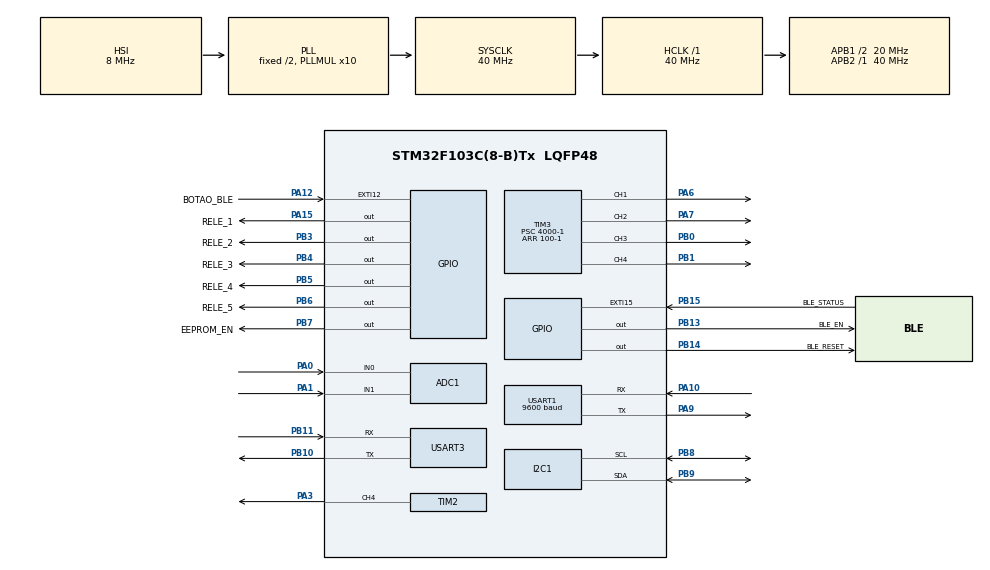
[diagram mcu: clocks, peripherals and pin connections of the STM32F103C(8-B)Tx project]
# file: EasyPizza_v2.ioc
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ADC1.Channel-0\#ChannelRegularConversion=ADC_CHANNEL_0
ADC1.Channel-1\#ChannelRegularConversion=ADC_CHANNEL_1
ADC1.Channel-2\#ChannelRegularConversion=ADC_CHANNEL_TEMPSENSOR
ADC1.ContinuousConvMode=ENABLE
ADC1.NbrOfConversion=3
ADC1.NbrOfConversionFlag=1
ADC1.Rank-0\#ChannelRegularConversion=1
ADC1.Rank-1\#ChannelRegularConversion=2
ADC1.Rank-2\#ChannelRegularConversion=3
ADC1.SamplingTime-0\#ChannelRegularConversion=ADC_SAMPLETIME_71CYCLES_5
ADC1.SamplingTime-1\#ChannelRegularConversion=ADC_SAMPLETIME_71CYCLES_5
ADC1.SamplingTime-2\#ChannelRegularConversion=ADC_SAMPLETIME_71CYCLES_5
ADC1.master=1
Dma.ADC1.0.Direction=DMA_PERIPH_TO_MEMORY
Dma.ADC1.0.Instance=DMA1_Channel1
Dma.ADC1.0.MemDataAlignment=DMA_MDATAALIGN_WORD
Dma.ADC1.0.MemInc=DMA_MINC_ENABLE
Dma.ADC1.0.Mode=DMA_CIRCULAR
Dma.ADC1.0.PeriphDataAlignment=DMA_PDATAALIGN_WORD
Dma.ADC1.0.PeriphInc=DMA_PINC_DISABLE
Dma.ADC1.0.Priority=DMA_PRIORITY_LOW
Dma.Request0=ADC1
Dma.Request1=USART1_RX
Dma.Request2=USART3_RX
Dma.USART1_RX.1.Direction=DMA_PERIPH_TO_MEMORY
Dma.USART1_RX.1.Instance=DMA1_Channel5
Dma.USART1_RX.1.MemDataAlignment=DMA_MDATAALIGN_BYTE
Dma.USART1_RX.1.MemInc=DMA_MINC_ENABLE
Dma.USART1_RX.1.Mode=DMA_NORMAL
Dma.USART1_RX.1.PeriphDataAlignment=DMA_PDATAALIGN_BYTE
Dma.USART1_RX.1.PeriphInc=DMA_PINC_DISABLE
Dma.USART1_RX.1.Priority=DMA_PRIORITY_HIGH
Dma.USART3_RX.2.Direction=DMA_PERIPH_TO_MEMORY
Dma.USART3_RX.2.Instance=DMA1_Channel3
Dma.USART3_RX.2.MemDataAlignment=DMA_MDATAALIGN_BYTE
Dma.USART3_RX.2.MemInc=DMA_MINC_ENABLE
Dma.USART3_RX.2.Mode=DMA_CIRCULAR
Dma.USART3_RX.2.PeriphDataAlignment=DMA_PDATAALIGN_BYTE
Dma.USART3_RX.2.PeriphInc=DMA_PINC_DISABLE
Dma.USART3_RX.2.Priority=DMA_PRIORITY_LOW
FREERTOS.BinarySemaphores01=BinSemUartTx,Dynamic,NULL
FREERTOS.HEAP_NUMBER=4
FREERTOS.INCLUDE_vTaskDelayUntil=1
FREERTOS.Queues01=FilaEeprom,5,uint8_t,0,Dynamic,NULL,NULL
FREERTOS.Tasks01=TaskBluetooth,2,256,StartBluetooth,As weak,NULL,Static,TaskBluetoothBuffer,TaskBluetoothControlBlock;TaskTemperatura,1,128,StartTemperatura,As weak,NULL,Dynamic,NULL,NULL;TaskBuzzer,-3,128,StartBuzzer,As weak,NULL,Static,TaskBuzzerBuffer,TaskBuzzerControlBlock;TaskTimer,0,128,StartTimer,As weak,NULL,Static,TaskTimerBuffer,TaskTimerControlBlock;TaskEeprom,0,128,StartEeprom,As weak,NULL,Dynamic,NULL,NULL
FREERTOS.Timers01=timer100ms,CBTimer100ms,osTimerPeriodic,Default,NULL,Dynamic,NULL;timer1000ms,CBTimer1000ms,osTimerPeriodic,Default,NULL,Dynamic,NULL
FREERTOS.configTOTAL_HEAP_SIZE=4096
FREERTOS.configUSE_NEWLIB_REENTRANT=1
FREERTOS.configUSE_TIMERS=1
Mcu.Family=STM32F1
Mcu.Name=STM32F103C(8-B)Tx
Mcu.Package=LQFP48
NVIC.DMA1_Channel1_IRQn=true\:5\:0\:false\:false\:true\:true\:false\:true\:true
NVIC.DMA1_Channel3_IRQn=true\:5\:0\:false\:false\:true\:true\:false\:true\:true
NVIC.DMA1_Channel5_IRQn=true\:5\:0\:false\:false\:true\:true\:false\:true\:true
NVIC.PriorityGroup=NVIC_PRIORITYGROUP_4
NVIC.TIM1_UP_IRQn=true\:15\:0\:false\:false\:true\:false\:false\:true\:true
NVIC.TIM3_IRQn=true\:5\:0\:false\:false\:true\:true\:true\:true\:true
NVIC.TimeBase=TIM1_UP_IRQn
NVIC.TimeBaseIP=TIM1
NVIC.USART1_IRQn=true\:6\:0\:true\:false\:true\:true\:true\:true\:true
PA0-WKUP.Signal=ADCx_IN0
PA1.Signal=ADCx_IN1
PA10.Mode=Asynchronous
PA10.Signal=USART1_RX
PA12.GPIO_Label=BOTAO_BLE
PA12.Signal=GPXTI12
PA13.Mode=Serial_Wire
PA13.Signal=SYS_JTMS-SWDIO
PA14.Mode=Serial_Wire
PA14.Signal=SYS_JTCK-SWCLK
PA15.GPIO_Label=RELE_1
PA15.Signal=GPIO_Output
PA3.Signal=S_TIM2_CH4
PA6.Signal=S_TIM3_CH1
PA7.Signal=S_TIM3_CH2
PA9.Mode=Asynchronous
PA9.Signal=USART1_TX
PB0.Signal=S_TIM3_CH3
PB1.Signal=S_TIM3_CH4
PB10.Mode=Asynchronous
PB10.Signal=USART3_TX
PB11.Mode=Asynchronous
PB11.Signal=USART3_RX
PB13.GPIO_Label=BLE_EN
PB13.PinState=GPIO_PIN_SET
PB13.Signal=GPIO_Output
PB14.GPIO_Label=BLE_RESET
PB14.PinState=GPIO_PIN_SET
PB14.Signal=GPIO_Output
PB15.GPIO_Label=BLE_STATUS
PB15.Signal=GPXTI15
PB3.GPIO_Label=RELE_2
PB3.Signal=GPIO_Output
PB4.GPIO_Label=RELE_3
PB4.Signal=GPIO_Output
PB5.GPIO_Label=RELE_4
PB5.Signal=GPIO_Output
PB6.GPIO_Label=RELE_5
PB6.Signal=GPIO_Output
PB7.GPIO_Label=EEPROM_EN
PB7.GPIO_PuPd=GPIO_PULLDOWN
PB7.Signal=GPIO_Output
PB8.Mode=I2C
PB8.Signal=I2C1_SCL
PB9.Mode=I2C
PB9.Signal=I2C1_SDA
ProjectManager.HeapSize=0x200
ProjectManager.StackSize=0x400
ProjectManager.TargetToolchain=STM32CubeIDE
RCC.ADCPresc=RCC_ADCPCLK2_DIV8
RCC.AHBFreq_Value=40000000
RCC.APB1CLKDivider=RCC_HCLK_DIV2
RCC.APB1Freq_Value=20000000
RCC.APB1TimFreq_Value=40000000
RCC.APB2Freq_Value=40000000
RCC.APB2TimFreq_Value=40000000
RCC.HCLKFreq_Value=40000000
RCC.PLLMUL=RCC_PLL_MUL10
RCC.SYSCLKFreq_VALUE=40000000
RCC.SYSCLKSource=RCC_SYSCLKSOURCE_PLLCLK
RCC.USBFreq_Value=40000000
SH.ADCx_IN0.0=ADC1_IN0,IN0
SH.ADCx_IN1.0=ADC1_IN1,IN1
SH.S_TIM2_CH4.0=TIM2_CH4,PWM Generation4 CH4
SH.S_TIM3_CH1.0=TIM3_CH1,PWM Generation1 CH1
SH.S_TIM3_CH2.0=TIM3_CH2,PWM Generation2 CH2
SH.S_TIM3_CH3.0=TIM3_CH3,PWM Generation3 CH3
SH.S_TIM3_CH4.0=TIM3_CH4,PWM Generation4 CH4
TIM2.Channel-PWM\ Generation4\ CH4=TIM_CHANNEL_4
TIM2.Period=100-1
TIM2.Prescaler=165-1
TIM2.Pulse-PWM\ Generation4\ CH4=50
TIM3.Channel-PWM\ Generation1\ CH1=TIM_CHANNEL_1
TIM3.Channel-PWM\ Generation2\ CH2=TIM_CHANNEL_2
TIM3.Channel-PWM\ Generation3\ CH3=TIM_CHANNEL_3
TIM3.Channel-PWM\ Generation4\ CH4=TIM_CHANNEL_4
TIM3.OCFastMode_PWM-PWM\ Generation1\ CH1=TIM_OCFAST_ENABLE
TIM3.OCFastMode_PWM-PWM\ Generation2\ CH2=TIM_OCFAST_ENABLE
TIM3.OCFastMode_PWM-PWM\ Generation3\ CH3=TIM_OCFAST_ENABLE
TIM3.OCFastMode_PWM-PWM\ Generation4\ CH4=TIM_OCFAST_ENABLE
TIM3.Period=100-1
TIM3.Prescaler=4000-1
USART1.BaudRate=9600
USART1.VirtualMode=VM_ASYNC
USART3.VirtualMode=VM_ASYNC
VP_ADC1_TempSens_Input.Mode=IN-TempSens
VP_FREERTOS_VS_CMSIS_V1.Mode=CMSIS_V1
VP_RTC_VS_RTC_Activate.Mode=RTC_Enabled
VP_RTC_VS_RTC_Calendar.Mode=RTC_Calendar
VP_SYS_VS_tim1.Mode=TIM1
VP_TIM2_VS_ClockSourceINT.Mode=Internal
VP_TIM3_VS_ClockSourceINT.Mode=Internal
board=custom

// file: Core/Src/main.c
/* USER CODE BEGIN Header */
/**
 ******************************************************************************
 * @file           : main.c
 * @brief          : Main program body
 ******************************************************************************
 * @attention
 *
 * Copyright (c) 2023 STMicroelectronics.
 * All rights reserved.
 *
 * This software is licensed under terms that can be found in the LICENSE file
 * in the root directory of this software component.
 * If no LICENSE file comes with this software, it is provided AS-IS.
 *
 ******************************************************************************
 */
/* USER CODE END Header */
#include "main.h"
#include "cmsis_os.h"

/* USER CODE BEGIN Includes */
#include <time.h>
#include "Bluetooth.h"
#include "Crc.h"

/* USER CODE END Includes */

ADC_HandleTypeDef hadc1;
DMA_HandleTypeDef hdma_adc1;

I2C_HandleTypeDef hi2c1;

RTC_HandleTypeDef hrtc;

TIM_HandleTypeDef htim2;
TIM_HandleTypeDef htim3;

UART_HandleTypeDef huart1;
UART_HandleTypeDef huart3;
DMA_HandleTypeDef hdma_usart1_rx;
DMA_HandleTypeDef hdma_usart3_rx;

osThreadId TaskBluetoothHandle;
uint32_t TaskBluetoothBuffer[ 256 ];
osStaticThreadDef_t TaskBluetoothControlBlock;
osThreadId TaskTemperaturaHandle;
osThreadId TaskBuzzerHandle;
uint32_t TaskBuzzerBuffer[ 128 ];
osStaticThreadDef_t TaskBuzzerControlBlock;
osThreadId TaskTimerHandle;
uint32_t TaskTimerBuffer[ 128 ];
osStaticThreadDef_t TaskTimerControlBlock;
osThreadId TaskEepromHandle;
osMessageQId FilaEepromHandle;
osTimerId timer100msHandle;
osTimerId timer1000msHandle;
osSemaphoreId BinSemUartTxHandle;

void SystemClock_Config(void);
static void MX_GPIO_Init(void);
static void MX_DMA_Init(void);
static void MX_ADC1_Init(void);
static void MX_I2C1_Init(void);
static void MX_TIM3_Init(void);
static void MX_TIM2_Init(void);
static void MX_USART1_UART_Init(void);
static void MX_USART3_UART_Init(void);
static void MX_RTC_Init(void);
void StartBluetooth(void const * argument);
void StartTemperatura(void const * argument);
void StartBuzzer(void const * argument);
void StartTimer(void const * argument);
void StartEeprom(void const * argument);
void CBTimer100ms(void const * argument);
void CBTimer1000ms(void const * argument);

/* USER CODE BEGIN PFP */
extern void taskTemperatura1sec(void);
extern void taskBluetooth1sec(void);
void controleCooler(void);
void timeoutAquecimento (void);
void timeoutDesligaLampada(void);
/* USER CODE END PFP */

/* USER CODE BEGIN 0 */

float tempInterna;

Bluetooth 		bluetooth; 	// classe bluetooth.
OutputDigital 	outPuts;	// classe de saidas digitais e analogicas.

//---ARRAY DE LEITURA DO AD
uint32_t 	buffer_ADC[3];

//---VARIAVEIS PRIMITIVAS
GlobalPrimitiveIOStates PrimitiveStates;

TYPE_CALENDARIO Calendario;

/* USER CODE END 0 */

int main(void)
{
  /* USER CODE BEGIN 1 */

	/*observacoes aplicativo
	 * gradiente da barra de temperatura nao aparente
	 * falta de vibracao nos botoes
	 * campo de insercao de numeros inves de rolagem
	 * alfabeto na lista de receitas
	 * */

	/* LISTA TODO
	 *
	 * 1  - FEITO - CONFERIR - Contador ContTempMaxima. FEITO - CONFERIR
	 * 2  - FEITO - CONFERIR - Contador ciclos timer feitos CiclosFeitos.
	 * 3  - FEITO - Efeito visual e sonoro initerrupto ao chegar na temp e terminar ciclo.
	 * 4  - FEITO - Criar funcao para saida dos leds.
	 * 5  - FEITO - Conferir funcao inatividade.
	 * 6  - FEITO - Contador de ciclos
	 * 7  - FEITO - CONFERIR - assegurar contagem de minutimetro e horimetro
	 * 8  - FEITO - implementar classe digitalOutPut
	 * 9  - FEITO - incluir no aplicativo alteracoes, consultar taskBluetooth.c
	 * 10 - FEITO - revisar a metodologia de envio de informacoes via serial, testar sem utilizar o _IT ps.:possivelmente retornar o osDelay
	 * 11 - FEITO - histerese de state pwm configuravel
	 * 12 - FEITO - comunicacao do PID
	 * 13 - FEITO - Buzzer ao alterar
	 * 14 - FEITO - Tempo inativo só incrementa quando acabar timer
	 * 15 - FEITO - revisar tempos de senha
	 * 16 - FEITO - reset de ki kd
	 * 17 - FEITO - nova funcao de envio de valores paara eeprom
	 * 18 - FEITO - Alterar tempo de lampada para uint16_t
	 * 19 - FEITO -Revisar Ki do lastro que esta vindo zerado ?????
	 * 20 - FEITO - revisar restruturacao automatico
	 * 21 - FEITO - on/off de beep
	 * 22 - FEITO - pulsar leds ao conectar e buzzer(breve)
	 * 23 - FEITO - habilitar soft e hard reset, deixando de fora ciclos e contagem de tetoTempMax e lastroTempMax
	 * 24 - FEITO - Desflagear o cont teto ao fim das receitas
	 * 25 - FEITO - Ler referencia de eeprom, nao foi feito
	 * 26 - FEITO - Revisar momento de incremento de horimetro
	 * 27 - FEITO - tempo relativo para desconexao
	 * 28 - NAO NECESSARIO - reset de fila na desconexao
	 * 29 - FEITO - relativizar envio de sincronias
	 * 30 - FEITO - alterar resposta de "resetando" de TaskEeprom para TaskBluetooth->TXQueue
	 * 31 - FEITO - desconectar ou resetar FlagSincronia ao finalizar restauracao
	 * 32 - FEITO - reestruturacao completa de sequencia de senhas e primeiras conexoes
	 * 33 - FEITO - testar leitura eeprom do buzzer
	 * 34 - FEITO - criar uma funcao de log para minhas classes
	 * 35 - FEITO - revisar logica de restauracao de valores padrao
	 * 36 - FEITO - cancelei o buzzer pra nao enlouquecer
	 * 37 - centralizar erros em um só lugar
	 * 38 - FEITO - dependendo do erro resetar o sistema ou nao (menor que zero necessitam nvic_reset())
	 * 39 - FEITO - retirado execucao automatica.
	 * 40 - revisar comentarios da classe bluetooth e incluir comentarios para classe eeprom.
	 * 41 - FEITO - contar atividade apenas se comando for valido
	 * 42 - FEITO proteger parametros e ponteiros de TODAS as funcoes e classes, tema de casa bluetooth.c
	 * 43 - FEITO revisar listagem de erros e quais resetam ou nao.
	 * 44 - FEITO MARROMENO converter as variaveis de classes para static e previnir acesso externo a elas
	 * 45 - FEITO verificar necessidade de variaveis volatiles.
	 *
	 *
	 *
	 * 36 - apontar os erros handler para apenas um lugar?
	 * */

  /* USER CODE END 1 */

  /* MCU Configuration--------------------------------------------------------*/

  /* Reset of all peripherals, Initializes the Flash interface and the Systick. */
  HAL_Init();

  /* Configure the system clock */
  SystemClock_Config();

  /* Initialize all configured peripherals */
  MX_GPIO_Init();
  MX_DMA_Init();
  MX_ADC1_Init();
  MX_I2C1_Init();
  MX_TIM3_Init();
  MX_TIM2_Init();
  MX_USART1_UART_Init();
  MX_USART3_UART_Init();
  MX_RTC_Init();
  /* USER CODE BEGIN 2 */
	HAL_Delay(1000);

	HAL_ADC_Start_DMA		(&hadc1	,(uint32_t*)&buffer_ADC, 3	);// ADC_DMA

	// criacao dos objetos de saida
	OutputAddDigital(&outPuts,&PrimitiveStates.Lampada		,RELE_1_Pin	,RELE_1_GPIO_Port	,timeoutDesligaLampada	,TIME_LAMPADA	,0);
	OutputAddDigital(&outPuts,&PrimitiveStates.Cooler		,RELE_2_Pin	,RELE_2_GPIO_Port	,0	,0	,0);
	OutputAddDigital(&outPuts,&PrimitiveStates.LedLastro	,RELE_3_Pin	,RELE_3_GPIO_Port	,0	,0	,0);
	OutputAddDigital(&outPuts,&PrimitiveStates.LedTeto		,RELE_4_Pin	,RELE_4_GPIO_Port	,0	,0	,0);
	OutputAddDigital(&outPuts,&PrimitiveStates.LedVerde		,RELE_5_Pin	,RELE_5_GPIO_Port	,0	,0	,0);
	OutputAddPID	(&outPuts,&PrimitiveStates.Teto		,&htim3	,TIM_CHANNEL_4	,STD_KP	,STD_KI	,STD_KD	,STD_HISTERESE	,TIME_MAX_AQUECIMENTO	,timeoutAquecimento);
	OutputAddPID	(&outPuts,&PrimitiveStates.Lastro	,&htim3	,TIM_CHANNEL_3	,STD_KP	,STD_KI	,STD_KD	,STD_HISTERESE	,TIME_MAX_AQUECIMENTO	,timeoutAquecimento);

  /* USER CODE END 2 */

  /* Create the semaphores(s) */
  /* definition and creation of BinSemUartTx */
  osSemaphoreDef(BinSemUartTx);
  BinSemUartTxHandle = osSemaphoreCreate(osSemaphore(BinSemUartTx), 1);

  /* Create the timer(s) */
  /* definition and creation of timer100ms */
  osTimerDef(timer100ms, CBTimer100ms);
  timer100msHandle = osTimerCreate(osTimer(timer100ms), osTimerPeriodic, NULL);

  /* definition and creation of timer1000ms */
  osTimerDef(timer1000ms, CBTimer1000ms);
  timer1000msHandle = osTimerCreate(osTimer(timer1000ms), osTimerPeriodic, NULL);

  /* Create the queue(s) */
  /* definition and creation of FilaEeprom */
  osMessageQDef(FilaEeprom, 5, uint8_t);
  FilaEepromHandle = osMessageCreate(osMessageQ(FilaEeprom), NULL);

  /* Create the thread(s) */
  /* definition and creation of TaskBluetooth */
  osThreadStaticDef(TaskBluetooth, StartBluetooth, osPriorityHigh, 0, 256, TaskBluetoothBuffer, &TaskBluetoothControlBlock);
  TaskBluetoothHandle = osThreadCreate(osThread(TaskBluetooth), NULL);

  /* definition and creation of TaskTemperatura */
  osThreadDef(TaskTemperatura, StartTemperatura, osPriorityAboveNormal, 0, 128);
  TaskTemperaturaHandle = osThreadCreate(osThread(TaskTemperatura), NULL);

  /* definition and creation of TaskBuzzer */
  osThreadStaticDef(TaskBuzzer, StartBuzzer, osPriorityIdle, 0, 128, TaskBuzzerBuffer, &TaskBuzzerControlBlock);
  TaskBuzzerHandle = osThreadCreate(osThread(TaskBuzzer), NULL);

  /* definition and creation of TaskTimer */
  osThreadStaticDef(TaskTimer, StartTimer, osPriorityNormal, 0, 128, TaskTimerBuffer, &TaskTimerControlBlock);
  TaskTimerHandle = osThreadCreate(osThread(TaskTimer), NULL);

  /* definition and creation of TaskEeprom */
  osThreadDef(TaskEeprom, StartEeprom, osPriorityNormal, 0, 128);
  TaskEepromHandle = osThreadCreate(osThread(TaskEeprom), NULL);

  /* USER CODE BEGIN RTOS_THREADS */
	/* add threads, ... */

	osThreadSuspend(TaskTemperaturaHandle); //só é liberada após taskeeprom
	osTimerStart(timer100msHandle,100);
	osTimerStart(timer1000msHandle,1000);
	osSemaphoreRelease(BinSemUartTxHandle);
  /* USER CODE END RTOS_THREADS */

  /* Start scheduler */
  osKernelStart();

  /* We should never get here as control is now taken by the scheduler */
  /* Infinite loop */
	while (1)
	{

	}
}

void SystemClock_Config(void)
{
  RCC_OscInitTypeDef RCC_OscInitStruct = {0};
  RCC_ClkInitTypeDef RCC_ClkInitStruct = {0};
  RCC_PeriphCLKInitTypeDef PeriphClkInit = {0};

  /** Initializes the RCC Oscillators according to the specified parameters
  * in the RCC_OscInitTypeDef structure.
  */
  RCC_OscInitStruct.OscillatorType = RCC_OSCILLATORTYPE_HSI|RCC_OSCILLATORTYPE_LSI;
  RCC_OscInitStruct.HSIState = RCC_HSI_ON;
  RCC_OscInitStruct.HSICalibrationValue = RCC_HSICALIBRATION_DEFAULT;
  RCC_OscInitStruct.LSIState = RCC_LSI_ON;
  RCC_OscInitStruct.PLL.PLLState = RCC_PLL_ON;
  RCC_OscInitStruct.PLL.PLLSource = RCC_PLLSOURCE_HSI_DIV2;
  RCC_OscInitStruct.PLL.PLLMUL = RCC_PLL_MUL10;
  if (HAL_RCC_OscConfig(&RCC_OscInitStruct) != HAL_OK)
  {
    Error_Handler();
  }

  /** Initializes the CPU, AHB and APB buses clocks
  */
  RCC_ClkInitStruct.ClockType = RCC_CLOCKTYPE_HCLK|RCC_CLOCKTYPE_SYSCLK
                              |RCC_CLOCKTYPE_PCLK1|RCC_CLOCKTYPE_PCLK2;
  RCC_ClkInitStruct.SYSCLKSource = RCC_SYSCLKSOURCE_PLLCLK;
  RCC_ClkInitStruct.AHBCLKDivider = RCC_SYSCLK_DIV1;
  RCC_ClkInitStruct.APB1CLKDivider = RCC_HCLK_DIV2;
  RCC_ClkInitStruct.APB2CLKDivider = RCC_HCLK_DIV1;

  if (HAL_RCC_ClockConfig(&RCC_ClkInitStruct, FLASH_LATENCY_1) != HAL_OK)
  {
    Error_Handler();
  }
  PeriphClkInit.PeriphClockSelection = RCC_PERIPHCLK_RTC|RCC_PERIPHCLK_ADC;
  PeriphClkInit.RTCClockSelection = RCC_RTCCLKSOURCE_LSI;
  PeriphClkInit.AdcClockSelection = RCC_ADCPCLK2_DIV8;
  if (HAL_RCCEx_PeriphCLKConfig(&PeriphClkInit) != HAL_OK)
  {
    Error_Handler();
  }
}

static void MX_ADC1_Init(void)
{

  ADC_ChannelConfTypeDef sConfig = {0};

  /** Common config
  */
  hadc1.Instance = ADC1;
  hadc1.Init.ScanConvMode = ADC_SCAN_ENABLE;
  hadc1.Init.ContinuousConvMode = ENABLE;
  hadc1.Init.DiscontinuousConvMode = DISABLE;
  hadc1.Init.ExternalTrigConv = ADC_SOFTWARE_START;
  hadc1.Init.DataAlign = ADC_DATAALIGN_RIGHT;
  hadc1.Init.NbrOfConversion = 3;
  if (HAL_ADC_Init(&hadc1) != HAL_OK)
  {
    Error_Handler();
  }

  /** Configure Regular Channel
  */
  sConfig.Channel = ADC_CHANNEL_0;
  sConfig.Rank = ADC_REGULAR_RANK_1;
  sConfig.SamplingTime = ADC_SAMPLETIME_71CYCLES_5;
  if (HAL_ADC_ConfigChannel(&hadc1, &sConfig) != HAL_OK)
  {
    Error_Handler();
  }

  /** Configure Regular Channel
  */
  sConfig.Channel = ADC_CHANNEL_1;
  sConfig.Rank = ADC_REGULAR_RANK_2;
  if (HAL_ADC_ConfigChannel(&hadc1, &sConfig) != HAL_OK)
  {
    Error_Handler();
  }

  /** Configure Regular Channel
  */
  sConfig.Channel = ADC_CHANNEL_TEMPSENSOR;
  sConfig.Rank = ADC_REGULAR_RANK_3;
  if (HAL_ADC_ConfigChannel(&hadc1, &sConfig) != HAL_OK)
  {
    Error_Handler();
  }

}

static void MX_I2C1_Init(void)
{

  hi2c1.Instance = I2C1;
  hi2c1.Init.ClockSpeed = 100000;
  hi2c1.Init.DutyCycle = I2C_DUTYCYCLE_2;
  hi2c1.Init.OwnAddress1 = 0;
  hi2c1.Init.AddressingMode = I2C_ADDRESSINGMODE_7BIT;
  hi2c1.Init.DualAddressMode = I2C_DUALADDRESS_DISABLE;
  hi2c1.Init.OwnAddress2 = 0;
  hi2c1.Init.GeneralCallMode = I2C_GENERALCALL_DISABLE;
  hi2c1.Init.NoStretchMode = I2C_NOSTRETCH_DISABLE;
  if (HAL_I2C_Init(&hi2c1) != HAL_OK)
  {
    Error_Handler();
  }

}

static void MX_RTC_Init(void)
{

  RTC_TimeTypeDef sTime = {0};
  RTC_DateTypeDef DateToUpdate = {0};

  /** Initialize RTC Only
  */
  hrtc.Instance = RTC;
  hrtc.Init.AsynchPrediv = RTC_AUTO_1_SECOND;
  hrtc.Init.OutPut = RTC_OUTPUTSOURCE_ALARM;
  if (HAL_RTC_Init(&hrtc) != HAL_OK)
  {
    Error_Handler();
  }

  /** Initialize RTC and set the Time and Date
  */
  sTime.Hours = 0x0;
  sTime.Minutes = 0x0;
  sTime.Seconds = 0x0;

  if (HAL_RTC_SetTime(&hrtc, &sTime, RTC_FORMAT_BCD) != HAL_OK)
  {
    Error_Handler();
  }
  DateToUpdate.WeekDay = RTC_WEEKDAY_MONDAY;
  DateToUpdate.Month = RTC_MONTH_JANUARY;
  DateToUpdate.Date = 0x1;
  DateToUpdate.Year = 0x0;

  if (HAL_RTC_SetDate(&hrtc, &DateToUpdate, RTC_FORMAT_BCD) != HAL_OK)
  {
    Error_Handler();
  }

}

static void MX_TIM2_Init(void)
{

  TIM_ClockConfigTypeDef sClockSourceConfig = {0};
  TIM_MasterConfigTypeDef sMasterConfig = {0};
  TIM_OC_InitTypeDef sConfigOC = {0};

  htim2.Instance = TIM2;
  htim2.Init.Prescaler = 165-1;
  htim2.Init.CounterMode = TIM_COUNTERMODE_UP;
  htim2.Init.Period = 100-1;
  htim2.Init.ClockDivision = TIM_CLOCKDIVISION_DIV1;
  htim2.Init.AutoReloadPreload = TIM_AUTORELOAD_PRELOAD_DISABLE;
  if (HAL_TIM_Base_Init(&htim2) != HAL_OK)
  {
    Error_Handler();
  }
  sClockSourceConfig.ClockSource = TIM_CLOCKSOURCE_INTERNAL;
  if (HAL_TIM_ConfigClockSource(&htim2, &sClockSourceConfig) != HAL_OK)
  {
    Error_Handler();
  }
  if (HAL_TIM_PWM_Init(&htim2) != HAL_OK)
  {
    Error_Handler();
  }
  sMasterConfig.MasterOutputTrigger = TIM_TRGO_RESET;
  sMasterConfig.MasterSlaveMode = TIM_MASTERSLAVEMODE_DISABLE;
  if (HAL_TIMEx_MasterConfigSynchronization(&htim2, &sMasterConfig) != HAL_OK)
  {
    Error_Handler();
  }
  sConfigOC.OCMode = TIM_OCMODE_PWM1;
  sConfigOC.Pulse = 50;
  sConfigOC.OCPolarity = TIM_OCPOLARITY_HIGH;
  sConfigOC.OCFastMode = TIM_OCFAST_DISABLE;
  if (HAL_TIM_PWM_ConfigChannel(&htim2, &sConfigOC, TIM_CHANNEL_4) != HAL_OK)
  {
    Error_Handler();
  }
  HAL_TIM_MspPostInit(&htim2);

}

static void MX_TIM3_Init(void)
{

  TIM_ClockConfigTypeDef sClockSourceConfig = {0};
  TIM_MasterConfigTypeDef sMasterConfig = {0};
  TIM_OC_InitTypeDef sConfigOC = {0};

  htim3.Instance = TIM3;
  htim3.Init.Prescaler = 4000-1;
  htim3.Init.CounterMode = TIM_COUNTERMODE_UP;
  htim3.Init.Period = 100-1;
  htim3.Init.ClockDivision = TIM_CLOCKDIVISION_DIV1;
  htim3.Init.AutoReloadPreload = TIM_AUTORELOAD_PRELOAD_DISABLE;
  if (HAL_TIM_Base_Init(&htim3) != HAL_OK)
  {
    Error_Handler();
  }
  sClockSourceConfig.ClockSource = TIM_CLOCKSOURCE_INTERNAL;
  if (HAL_TIM_ConfigClockSource(&htim3, &sClockSourceConfig) != HAL_OK)
  {
    Error_Handler();
  }
  if (HAL_TIM_PWM_Init(&htim3) != HAL_OK)
  {
    Error_Handler();
  }
  sMasterConfig.MasterOutputTrigger = TIM_TRGO_RESET;
  sMasterConfig.MasterSlaveMode = TIM_MASTERSLAVEMODE_DISABLE;
  if (HAL_TIMEx_MasterConfigSynchronization(&htim3, &sMasterConfig) != HAL_OK)
  {
    Error_Handler();
  }
  sConfigOC.OCMode = TIM_OCMODE_PWM1;
  sConfigOC.Pulse = 0;
  sConfigOC.OCPolarity = TIM_OCPOLARITY_HIGH;
  sConfigOC.OCFastMode = TIM_OCFAST_ENABLE;
  if (HAL_TIM_PWM_ConfigChannel(&htim3, &sConfigOC, TIM_CHANNEL_1) != HAL_OK)
  {
    Error_Handler();
  }
  if (HAL_TIM_PWM_ConfigChannel(&htim3, &sConfigOC, TIM_CHANNEL_2) != HAL_OK)
  {
    Error_Handler();
  }
  if (HAL_TIM_PWM_ConfigChannel(&htim3, &sConfigOC, TIM_CHANNEL_3) != HAL_OK)
  {
    Error_Handler();
  }
  if (HAL_TIM_PWM_ConfigChannel(&htim3, &sConfigOC, TIM_CHANNEL_4) != HAL_OK)
  {
    Error_Handler();
  }
  HAL_TIM_MspPostInit(&htim3);

}

static void MX_USART1_UART_Init(void)
{

  huart1.Instance = USART1;
  huart1.Init.BaudRate = 9600;
  huart1.Init.WordLength = UART_WORDLENGTH_8B;
  huart1.Init.StopBits = UART_STOPBITS_1;
  huart1.Init.Parity = UART_PARITY_NONE;
  huart1.Init.Mode = UART_MODE_TX_RX;
  huart1.Init.HwFlowCtl = UART_HWCONTROL_NONE;
  huart1.Init.OverSampling = UART_OVERSAMPLING_16;
  if (HAL_UART_Init(&huart1) != HAL_OK)
  {
    Error_Handler();
  }

}

static void MX_USART3_UART_Init(void)
{

  huart3.Instance = USART3;
  huart3.Init.BaudRate = 115200;
  huart3.Init.WordLength = UART_WORDLENGTH_8B;
  huart3.Init.StopBits = UART_STOPBITS_1;
  huart3.Init.Parity = UART_PARITY_NONE;
  huart3.Init.Mode = UART_MODE_TX_RX;
  huart3.Init.HwFlowCtl = UART_HWCONTROL_NONE;
  huart3.Init.OverSampling = UART_OVERSAMPLING_16;
  if (HAL_UART_Init(&huart3) != HAL_OK)
  {
    Error_Handler();
  }

}

static void MX_DMA_Init(void)
{

  /* DMA controller clock enable */
  __HAL_RCC_DMA1_CLK_ENABLE();

  /* DMA interrupt init */
  /* DMA1_Channel1_IRQn interrupt configuration */
  HAL_NVIC_SetPriority(DMA1_Channel1_IRQn, 5, 0);
  HAL_NVIC_EnableIRQ(DMA1_Channel1_IRQn);
  /* DMA1_Channel3_IRQn interrupt configuration */
  HAL_NVIC_SetPriority(DMA1_Channel3_IRQn, 5, 0);
  HAL_NVIC_EnableIRQ(DMA1_Channel3_IRQn);
  /* DMA1_Channel5_IRQn interrupt configuration */
  HAL_NVIC_SetPriority(DMA1_Channel5_IRQn, 5, 0);
  HAL_NVIC_EnableIRQ(DMA1_Channel5_IRQn);

}

static void MX_GPIO_Init(void)
{
  GPIO_InitTypeDef GPIO_InitStruct = {0};

  /* GPIO Ports Clock Enable */
  __HAL_RCC_GPIOA_CLK_ENABLE();
  __HAL_RCC_GPIOB_CLK_ENABLE();

  /*Configure GPIO pin Output Level */
  HAL_GPIO_WritePin(GPIOB, BLE_EN_Pin|BLE_RESET_Pin, GPIO_PIN_SET);

  /*Configure GPIO pin Output Level */
  HAL_GPIO_WritePin(RELE_1_GPIO_Port, RELE_1_Pin, GPIO_PIN_RESET);

  /*Configure GPIO pin Output Level */
  HAL_GPIO_WritePin(GPIOB, RELE_2_Pin|RELE_3_Pin|RELE_4_Pin|RELE_5_Pin
                          |EEPROM_EN_Pin, GPIO_PIN_RESET);

  /*Configure GPIO pins : BLE_EN_Pin BLE_RESET_Pin RELE_2_Pin RELE_3_Pin
                           RELE_4_Pin RELE_5_Pin */
  GPIO_InitStruct.Pin = BLE_EN_Pin|BLE_RESET_Pin|RELE_2_Pin|RELE_3_Pin
                          |RELE_4_Pin|RELE_5_Pin;
  GPIO_InitStruct.Mode = GPIO_MODE_OUTPUT_PP;
  GPIO_InitStruct.Pull = GPIO_NOPULL;
  GPIO_InitStruct.Speed = GPIO_SPEED_FREQ_LOW;
  HAL_GPIO_Init(GPIOB, &GPIO_InitStruct);

  /*Configure GPIO pin : BLE_STATUS_Pin */
  GPIO_InitStruct.Pin = BLE_STATUS_Pin;
  GPIO_InitStruct.Mode = GPIO_MODE_IT_RISING;
  GPIO_InitStruct.Pull = GPIO_NOPULL;
  HAL_GPIO_Init(BLE_STATUS_GPIO_Port, &GPIO_InitStruct);

  /*Configure GPIO pin : BOTAO_BLE_Pin */
  GPIO_InitStruct.Pin = BOTAO_BLE_Pin;
  GPIO_InitStruct.Mode = GPIO_MODE_IT_RISING;
  GPIO_InitStruct.Pull = GPIO_NOPULL;
  HAL_GPIO_Init(BOTAO_BLE_GPIO_Port, &GPIO_InitStruct);

  /*Configure GPIO pin : RELE_1_Pin */
  GPIO_InitStruct.Pin = RELE_1_Pin;
  GPIO_InitStruct.Mode = GPIO_MODE_OUTPUT_PP;
  GPIO_InitStruct.Pull = GPIO_NOPULL;
  GPIO_InitStruct.Speed = GPIO_SPEED_FREQ_LOW;
  HAL_GPIO_Init(RELE_1_GPIO_Port, &GPIO_InitStruct);

  /*Configure GPIO pin : EEPROM_EN_Pin */
  GPIO_InitStruct.Pin = EEPROM_EN_Pin;
  GPIO_InitStruct.Mode = GPIO_MODE_OUTPUT_PP;
  GPIO_InitStruct.Pull = GPIO_PULLDOWN;
  GPIO_InitStruct.Speed = GPIO_SPEED_FREQ_LOW;
  HAL_GPIO_Init(EEPROM_EN_GPIO_Port, &GPIO_InitStruct);

}

/* USER CODE BEGIN 4 */

void desligaForno(void){
	PrimitiveStates.RTTimerMinutos 	= 0;
	PrimitiveStates.RTTimerSegundos = 0;
	PrimitiveStates.SPTimerMinutos 	= 0;
	PrimitiveStates.SPTimerSegundos = 0;
	PrimitiveStates.Lastro.setPoint	= 0;
	PrimitiveStates.Teto.setPoint 	= 0;
	PrimitiveStates.stateTimer 		= TIMER_idle;
}

void controleCooler(void){
	if(PrimitiveStates.Lastro.realtime>ON_FAN_TEMPERATURA || PrimitiveStates.Teto.realtime>ON_FAN_TEMPERATURA){
		onDigital(&PrimitiveStates.Cooler);
	}else 	if(PrimitiveStates.Lastro.realtime<ON_FAN_TEMPERATURA-5 && PrimitiveStates.Teto.realtime<ON_FAN_TEMPERATURA-5){
		offDigital(&PrimitiveStates.Cooler);
	}
}

void HAL_ADC_ConvCpltCallback(ADC_HandleTypeDef* hadc)
{
#define TAM 500
#define AVG_SLOPE 	4.3 // mV per C (internal temp)
#define V25 		1.43 // V	(internal temp)

	float 	Temp1,Temp2;
	double TempTeto, TempLastro;
	static long somatorio1,somatorio2;
	static uint16_t i = 0;

	if(i<TAM){
		somatorio1+=buffer_ADC[1]; // somatorio
		somatorio2+=buffer_ADC[0]; // somatorio
		i++;
	}else{
		somatorio1 = somatorio1 / TAM; //calc media
		somatorio2 = somatorio2 / TAM; //calc media

		Temp1 = somatorio1*16; //calc valor final
		Temp1 = Temp1/100;
		somatorio1 = 0; 		//zera somatorio

		Temp2 = somatorio2*16; 	//calc valor final
		Temp2 = Temp2/100;
		somatorio2 = 0; 		//zera somatorio

		TempLastro=(double)Temp2;
		TempTeto=(double)Temp1;

		PrimitiveStates.Teto.realtime = TempTeto-34;
		PrimitiveStates.Lastro.realtime = TempLastro-34;
		i=0;
	}
}

void timeoutAquecimento (void){
	//callback apontada no OutPut dos canais de aquecimento
	//essa funcao é chamada no momento que a contagem atinge seu limite

	//verifica erro temperatura lastro
	if(PrimitiveStates.Lastro.realtime < PrimitiveStates.Lastro.setPoint-5){
		//todo incluir no buffer erros
		PrimitiveStates.Erro.bit.IdleLastro=1;
	}

	//verifica erro temperatura teto
	if(PrimitiveStates.Teto.realtime < PrimitiveStates.Teto.setPoint-5){
		//todo incluir no buffer erros
		PrimitiveStates.Erro.bit.IdleTeto=1;
	}
}

void timeoutDesligaLampada(void){

	offDigital(&PrimitiveStates.Lampada);
}

/* USER CODE END 4 */

__weak void StartBluetooth(void const * argument)
{
	for(;;)
	{
		osDelay(1);
	}
}

__weak void StartTemperatura(void const * argument)
{
	for(;;)
	{
		osDelay(1);
	}
}

__weak void StartBuzzer(void const * argument)
{
	for(;;)
	{
		osDelay(1);
	}
}

__weak void StartTimer(void const * argument)
{
	for(;;)
	{
		osDelay(1);
	}
}

__weak void StartEeprom(void const * argument)
{
	for(;;)
	{
		osDelay(1);
	}
}

/* CBTimer100ms function */
void CBTimer100ms(void const * argument)
{
  /* USER CODE BEGIN CBTimer100ms */
	static TypeMaquinaConexao LocalMaquinaConexao;

	bluetoothActivitymonitor(&bluetooth);

	//sinal sonoro e luminosos de conexao
	if (LocalMaquinaConexao != bluetooth.MaquinaConexao) {
		LocalMaquinaConexao = bluetooth.MaquinaConexao;
		if(LocalMaquinaConexao == RX_VALIDADO){
			osSignalSet(TaskBuzzerHandle, SINAL_CONECTOU);
		}
	}
  /* USER CODE END CBTimer100ms */
}

/* CBTimer1000ms function */
void CBTimer1000ms(void const * argument)
{
  /* USER CODE BEGIN CBTimer1000ms */
	bluetooth1000ms(&bluetooth);
	taskTemperatura1sec();
	taskBluetooth1sec();
	controleCooler();

	//contadores de todas as saidas digitais
	contadorOutput(&outPuts);

	//se existir erros do tipo abaixo, o forno é desligado
	if(PrimitiveStates.Erro.byte != 0){
		desligaForno();
	}
  /* USER CODE END CBTimer1000ms */
}

void HAL_TIM_PeriodElapsedCallback(TIM_HandleTypeDef *htim)
{
  if (htim->Instance == TIM1) {
    HAL_IncTick();
  }
}

void Error_Handler(void)
{
  /* USER CODE BEGIN Error_Handler_Debug */
	/* User can add his own implementation to report the HAL error return state */
	__disable_irq();
	while (1)
	{
		NVIC_SystemReset();
	}
  /* USER CODE END Error_Handler_Debug */
}
